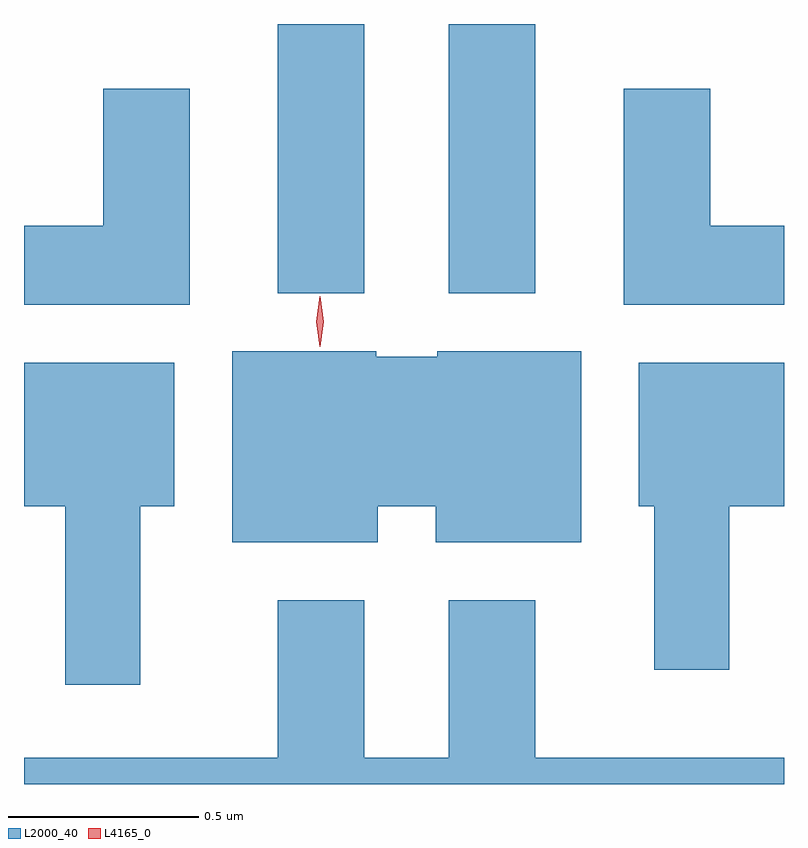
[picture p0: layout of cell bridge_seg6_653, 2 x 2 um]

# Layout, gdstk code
import gdstk
lib = gdstk.Library(unit=1e-6, precision=1e-09)
def R(c, l, rs):  # rectangles x0, y0, x1, y1
    for r in rs: c.add(gdstk.rectangle(r[:2], r[2:], *l))
def P(c, l, *ps):  # polygons
    for p in ps: c.add(gdstk.Polygon(p, *l))
L2000_40 = (2000, 40)
L4165_0 = (4165, 0)

bridge_seg6_653 = lib.new_cell('bridge_seg6_653')
R(bridge_seg6_653, L2000_40, [(225.971,1620.346,226.199,1621.055), (226.421,1620.346,226.649,1621.055)])
P(bridge_seg6_653, L2000_40, [(227.303,1620.524),(227.109,1620.524),(227.109,1620.884),(226.881,1620.884),(226.881,1620.316),(227.303,1620.316)],
  [(225.739,1620.884),(225.511,1620.884),(225.511,1620.524),(225.303,1620.524),(225.303,1620.316),(225.739,1620.316)],
  [(226.234,1619.786),(226.386,1619.786),(226.386,1619.691),(226.769,1619.691),(226.769,1620.194),(226.39,1620.194),(226.39,1620.179),(226.23,1620.179),(226.23,1620.194),(225.851,1620.194),(225.851,1619.691),(226.234,1619.691)],
  [(227.159,1619.786),(227.303,1619.786),(227.303,1620.164),(226.921,1620.164),(226.921,1619.786),(226.961,1619.786),(226.961,1619.356),(227.159,1619.356)],
  [(225.609,1619.786),(225.699,1619.786),(225.699,1620.164),(225.303,1620.164),(225.303,1619.786),(225.411,1619.786),(225.411,1619.316),(225.609,1619.316)],
  [(227.303,1619.124),(226.649,1619.124),(226.649,1619.539),(226.421,1619.539),(226.421,1619.124),(226.199,1619.124),(226.199,1619.539),(225.971,1619.539),(225.971,1619.124),(225.303,1619.124),(225.303,1619.055),(227.303,1619.055)])
P(bridge_seg6_653, L4165_0, [(226.081,1620.206),(226.072,1620.272),(226.081,1620.339),(226.082,1620.339),(226.082,1620.339),(226.092,1620.272),(226.082,1620.206),(226.082,1620.206)])

lib.write_gds('bridge_seg6_653.gds')
